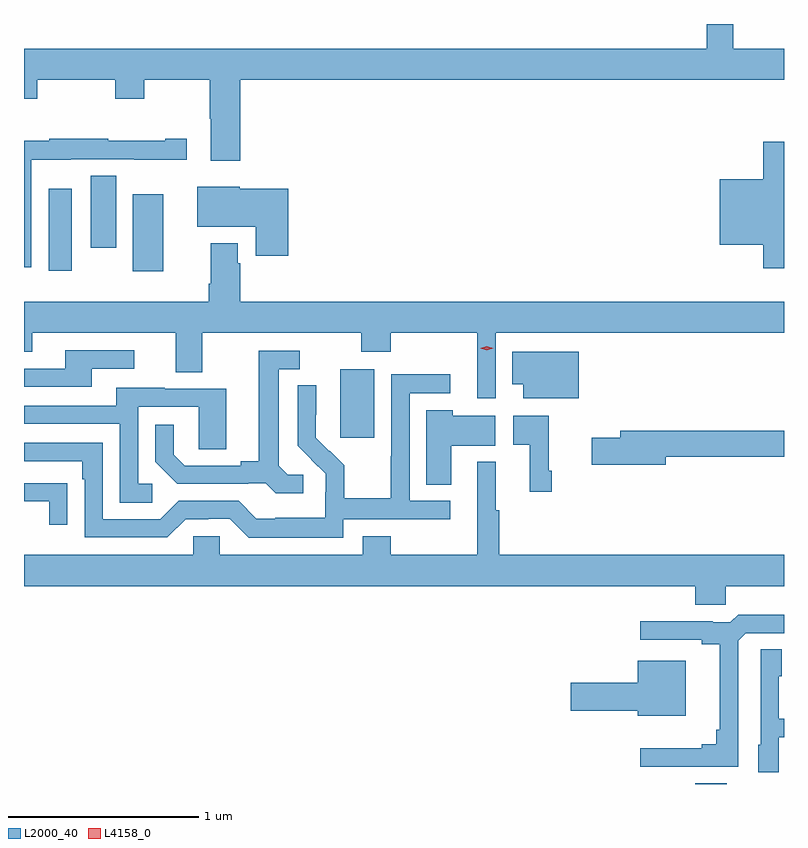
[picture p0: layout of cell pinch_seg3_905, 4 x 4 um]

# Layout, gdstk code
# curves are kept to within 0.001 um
import gdstk
lib = gdstk.Library(unit=1e-6, precision=1e-09)
def R(c, l, rs):  # rectangles x0, y0, x1, y1
    for r in rs: c.add(gdstk.rectangle(r[:2], r[2:], *l))
def P(c, l, *ps):  # polygons
    for p in ps: c.add(gdstk.Polygon(p, *l))
L2000_40 = (2000, 40)
L4158_0 = (4158, 0)

pinch_seg3_905 = lib.new_cell('pinch_seg3_905')
R(pinch_seg3_905, L2000_40, [(819.005,675.898,819.169,675.901), (817.136,677.721,817.315,678.082), (816.044,678.597,816.205,679.003), (815.6,678.6,815.722,679.03), (815.822,678.72,815.956,679.1), (819.341,679.896,819.471,679.898)])
P(pinch_seg3_905, L2000_40, [(816.608,679.604),(819.471,679.604),(819.471,679.768),(819.205,679.768),(819.205,679.898),(819.065,679.898),(819.065,679.768),(815.471,679.768),(815.471,679.505),(815.541,679.505),(815.541,679.604),(815.95,679.604),(815.95,679.505),(816.105,679.505),(816.105,679.604),(816.448,679.604),(816.448,679.4),(816.455,679.4),(816.455,679.179),(816.608,679.179)],
  [(815.508,679.184),(815.718,679.184),(815.718,679.185),(816.052,679.185),(816.052,679.184),(816.328,679.184),(816.328,679.294),(816.215,679.294),(816.215,679.284),(815.915,679.284),(815.915,679.294),(815.605,679.294),(815.605,679.284),(815.471,679.284),(815.471,678.618),(815.508,678.618)],
  [(819.471,679.279),(819.362,679.279),(819.362,679.081),(819.134,679.081),(819.134,678.737),(819.362,678.737),(819.362,678.612),(819.471,678.612)],
  [(816.863,679.03),(816.606,679.03),(816.606,679.042),(816.383,679.042),(816.383,678.83),(816.692,678.83),(816.692,678.678),(816.863,678.678)],
  [(817.953,678.272),(819.471,678.272),(819.471,678.436),(816.608,678.436),(816.608,678.638),(816.595,678.638),(816.595,678.745),(816.455,678.745),(816.455,678.532),(816.443,678.532),(816.443,678.436),(815.471,678.436),(815.471,678.173),(815.515,678.173),(815.515,678.272),(816.269,678.272),(816.269,678.064),(816.409,678.064),(816.409,678.272),(817.246,678.272),(817.246,678.173),(817.401,678.173),(817.401,678.272),(817.856,678.272),(817.856,677.928),(817.953,677.928)],
  [(815.827,678.084),(816.052,678.084),(816.052,678.18),(815.687,678.18),(815.687,678.084),(815.471,678.084),(815.471,677.988),(815.827,677.988)],
  [(816.94,677.526),(816.858,677.526),(816.811,677.573),(816.811,678.081),(816.922,678.081),(816.922,678.177),(816.707,678.177),(816.707,677.597),(816.611,677.597),(816.611,677.574),(816.316,677.574),(816.259,677.631),(816.259,677.788),(816.162,677.788),(816.162,677.594),(816.278,677.478),(816.65,677.478),(816.65,677.481),(816.744,677.481),(816.796,677.429),(816.94,677.429)],
  [(818.392,678.172),(818.042,678.172),(818.042,678.002),(818.099,678.002),(818.099,677.927),(818.392,677.927)],
  [(817.152,677.292),(817.714,677.292),(817.714,677.388),(817.5,677.388),(817.5,677.955),(817.714,677.955),(817.714,678.054),(817.404,678.054),(817.404,677.624),(817.402,677.624),(817.402,677.401),(817.157,677.401),(817.157,677.575),(817.08,677.652),(817.077,677.649),(817.007,677.72),(817.008,677.996),(816.912,677.996),(816.912,677.678),(817.058,677.53),(817.058,677.433),(817.056,677.433),(817.056,677.299),(816.793,677.299),(816.793,677.295),(816.693,677.295),(816.6,677.388),(816.285,677.388),(816.189,677.292),(815.886,677.292),(815.886,677.694),(815.471,677.694),(815.471,677.598),(815.777,677.598),(815.777,677.501),(815.79,677.501),(815.79,677.196),(816.225,677.196),(816.321,677.292),(816.44,677.292),(816.44,677.295),(816.555,677.295),(816.655,677.195),(817.152,677.195)],
  [(816.145,677.478),(816.072,677.478),(816.072,677.883),(816.39,677.883),(816.39,677.659),(816.535,677.659),(816.535,677.979),(816.211,677.979),(816.211,677.983),(815.957,677.983),(815.957,677.889),(815.471,677.889),(815.471,677.793),(815.976,677.793),(815.976,677.377),(816.145,677.377)],
  [(817.72,677.678),(817.951,677.678),(817.951,677.836),(817.728,677.836),(817.728,677.866),(817.589,677.866),(817.589,677.473),(817.72,677.473)],
  [(818.249,677.548),(818.232,677.548),(818.232,677.836),(818.046,677.836),(818.046,677.684),(818.132,677.684),(818.132,677.436),(818.249,677.436)],
  [(818.848,677.62),(819.471,677.62),(819.471,677.756),(818.609,677.756),(818.609,677.72),(818.46,677.72),(818.46,677.578),(818.848,677.578)],
  [(819.165,676.94),(819.471,676.94),(819.471,677.104),(817.973,677.104),(817.973,677.34),(817.955,677.34),(817.955,677.593),(817.856,677.593),(817.856,677.104),(817.401,677.104),(817.401,677.203),(817.253,677.203),(817.253,677.104),(816.501,677.104),(816.501,677.202),(816.363,677.202),(816.363,677.104),(815.471,677.104),(815.471,676.94),(819.005,676.94),(819.005,676.842),(819.165,676.842)],
  [(815.699,677.48),(815.597,677.48),(815.597,677.481),(815.471,677.481),(815.471,677.385),(815.603,677.385),(815.603,677.262),(815.699,677.262)],
  [(819.231,676.653),(819.27,676.692),(819.471,676.692),(819.471,676.789),(819.229,676.789),(819.189,676.749),(819.095,676.749),(819.095,676.754),(818.715,676.754),(818.715,676.656),(819.038,676.656),(819.038,676.634),(819.134,676.634),(819.134,676.183),(819.115,676.183),(819.115,676.106),(819.038,676.106),(819.038,676.087),(818.715,676.087),(818.715,675.99),(819.231,675.99)],
  [(819.444,676.145),(819.471,676.145),(819.471,676.242),(819.444,676.242),(819.444,676.464),(819.46,676.464),(819.46,676.607),(819.348,676.607),(819.348,676.104),(819.335,676.104),(819.335,675.96),(819.444,675.96)],
  [(818.953,676.546),(818.702,676.546),(818.702,676.43),(818.349,676.43),(818.349,676.283),(818.702,676.283),(818.702,676.256),(818.953,676.256)])
P(pinch_seg3_905, L4158_0, [(817.906,678.182),(817.872,678.192),(817.872,678.192),(817.872,678.192),(817.906,678.202),(817.941,678.192),(817.941,678.192),(817.941,678.192)])

lib.write_gds('pinch_seg3_905.gds')
